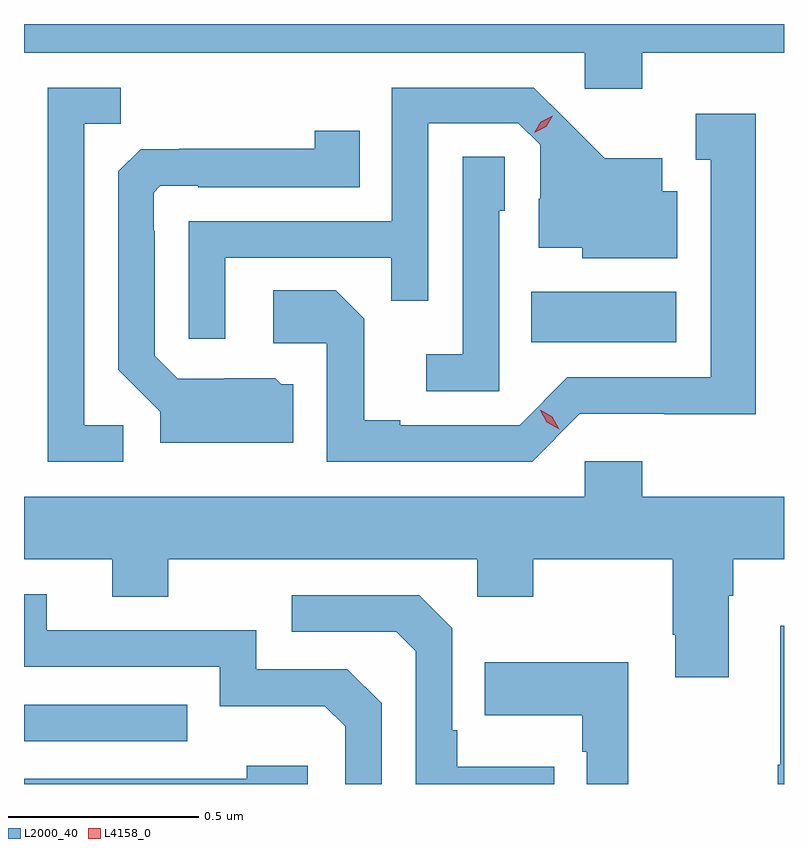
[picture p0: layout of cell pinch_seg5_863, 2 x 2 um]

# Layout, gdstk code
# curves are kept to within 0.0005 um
import gdstk
lib = gdstk.Library(unit=1e-6, precision=1e-09)
def R(c, l, rs):  # rectangles x0, y0, x1, y1
    for r in rs: c.add(gdstk.rectangle(r[:2], r[2:], *l))
def P(c, l, *ps):  # polygons
    for p in ps: c.add(gdstk.Polygon(p, *l))
L2000_40 = (2000, 40)
L4158_0 = (4158, 0)

pinch_seg5_863 = lib.new_cell('pinch_seg5_863')
R(pinch_seg5_863, L2000_40, [(791.821,888.249,792.251,888.345), (793.156,889.298,793.537,889.432)])
P(pinch_seg5_863, L2000_40, [(793.448,890.06),(793.821,890.06),(793.821,890.136),(791.821,890.136),(791.821,890.06),(793.296,890.06),(793.296,889.965),(793.448,889.965)],
  [(792.082,889.08),(791.979,889.08),(791.979,889.873),(792.075,889.873),(792.075,889.968),(791.883,889.968),(791.883,888.984),(792.082,888.984)],
  [(792.351,889.521),(792.787,889.521),(792.787,889.408),(792.885,889.408),(792.885,889.875),(793.122,889.875),(793.179,889.818),(793.179,889.676),(793.175,889.676),(793.175,889.547),(793.29,889.547),(793.29,889.52),(793.54,889.52),(793.54,889.696),(793.501,889.696),(793.501,889.783),(793.349,889.783),(793.162,889.968),(792.789,889.968),(792.789,889.617),(792.255,889.617),(792.255,889.308),(792.351,889.308)],
  [(793.284,889.11),(793.506,889.11),(793.506,889.109),(793.747,889.109),(793.747,889.9),(793.589,889.9),(793.589,889.779),(793.628,889.779),(793.628,889.206),(793.251,889.206),(793.125,889.08),(792.811,889.08),(792.811,889.093),(792.717,889.093),(792.717,889.36),(792.641,889.436),(792.477,889.436),(792.477,889.296),(792.618,889.296),(792.618,888.984),(793.158,888.984)],
  [(792.529,889.188),(792.498,889.188),(792.482,889.204),(792.348,889.204),(792.348,889.203),(792.225,889.203),(792.165,889.263),(792.165,889.592),(792.162,889.592),(792.162,889.692),(792.18,889.71),(792.28,889.71),(792.28,889.707),(792.704,889.707),(792.704,889.855),(792.586,889.855),(792.586,889.808),(792.229,889.808),(792.229,889.807),(792.128,889.807),(792.069,889.748),(792.069,889.226),(792.179,889.116),(792.179,889.034),(792.529,889.034)],
  [(793.071,889.644),(793.086,889.644),(793.086,889.787),(792.975,889.787),(792.975,889.267),(792.879,889.267),(792.879,889.17),(793.071,889.17)],
  [(793.675,888.632),(793.688,888.632),(793.688,888.728),(793.821,888.728),(793.821,888.892),(793.448,888.892),(793.448,888.985),(793.296,888.985),(793.296,888.892),(791.821,888.892),(791.821,888.728),(792.053,888.728),(792.053,888.629),(792.201,888.629),(792.201,888.728),(793.014,888.728),(793.014,888.629),(793.161,888.629),(793.161,888.728),(793.528,888.728),(793.528,888.529),(793.535,888.529),(793.535,888.417),(793.675,888.417)],
  [(792.762,888.348),(792.672,888.438),(792.432,888.438),(792.432,888.54),(791.881,888.54),(791.881,888.636),(791.821,888.636),(791.821,888.444),(792.336,888.444),(792.336,888.341),(792.613,888.341),(792.666,888.288),(792.666,888.136),(792.762,888.136)],
  [(793.217,888.181),(792.961,888.181),(792.961,888.277),(792.948,888.277),(792.948,888.546),(792.861,888.633),(792.525,888.633),(792.525,888.537),(792.801,888.537),(792.852,888.486),(792.852,888.136),(793.217,888.136)],
  [(793.821,888.553),(793.811,888.553),(793.811,888.187),(793.804,888.187),(793.804,888.136),(793.821,888.136)],
  [(793.411,888.457),(793.033,888.457),(793.033,888.317),(793.29,888.317),(793.29,888.221),(793.302,888.221),(793.302,888.136),(793.411,888.136)],
  [(792.568,888.184),(792.407,888.184),(792.407,888.15),(791.821,888.15),(791.821,888.136),(792.568,888.136)])
P(pinch_seg5_863, L4158_0, [(793.229,889.069),(793.197,889.088),(793.179,889.12),(793.179,889.121),(793.179,889.121),(793.211,889.102),(793.229,889.069),(793.229,889.069)],
  [(793.164,889.85),(793.164,889.85),(793.181,889.879),(793.212,889.894),(793.212,889.894),(793.212,889.894),(793.195,889.865),(793.164,889.85)])

lib.write_gds('pinch_seg5_863.gds')
